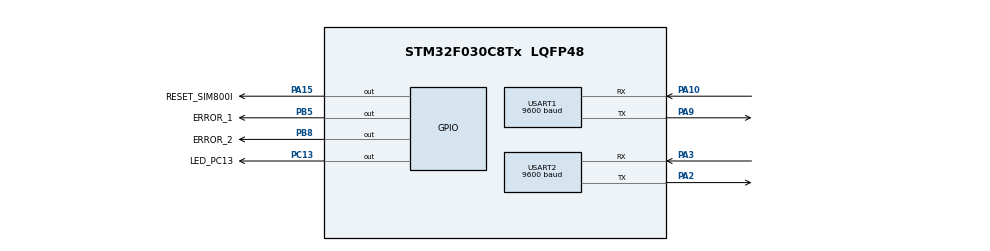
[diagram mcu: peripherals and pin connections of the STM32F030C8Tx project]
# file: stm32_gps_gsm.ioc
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Dma.Request0=USART1_RX
Dma.USART1_RX.0.Direction=DMA_PERIPH_TO_MEMORY
Dma.USART1_RX.0.Instance=DMA1_Channel3
Dma.USART1_RX.0.MemDataAlignment=DMA_MDATAALIGN_BYTE
Dma.USART1_RX.0.MemInc=DMA_MINC_ENABLE
Dma.USART1_RX.0.Mode=DMA_CIRCULAR
Dma.USART1_RX.0.PeriphDataAlignment=DMA_PDATAALIGN_BYTE
Dma.USART1_RX.0.PeriphInc=DMA_PINC_DISABLE
Dma.USART1_RX.0.Priority=DMA_PRIORITY_LOW
Mcu.Family=STM32F0
Mcu.Name=STM32F030C8Tx
Mcu.Package=LQFP48
NVIC.DMA1_Channel2_3_IRQn=true\:0\:0\:false\:false\:true\:false\:true\:true
NVIC.USART1_IRQn=true\:0\:0\:false\:false\:true\:true\:true\:true
NVIC.USART2_IRQn=true\:0\:0\:false\:false\:true\:true\:true\:true
PA10.Mode=Asynchronous
PA10.Signal=USART1_RX
PA15.GPIO_Label=RESET_SIM800l
PA15.Signal=GPIO_Output
PA2.Mode=Asynchronous
PA2.Signal=USART2_TX
PA3.Mode=Asynchronous
PA3.Signal=USART2_RX
PA9.Mode=Asynchronous
PA9.Signal=USART1_TX
PB5.GPIO_Label=ERROR_1
PB5.Signal=GPIO_Output
PB8.GPIO_Label=ERROR_2
PB8.Signal=GPIO_Output
PC13.GPIO_Label=LED_PC13
PC13.PinState=GPIO_PIN_SET
PC13.Signal=GPIO_Output
ProjectManager.HeapSize=0x200
ProjectManager.StackSize=0x400
ProjectManager.TargetToolchain=STM32CubeIDE
USART1.BaudRate=9600
USART1.VirtualMode-Asynchronous=VM_ASYNC
USART2.BaudRate=9600
USART2.VirtualMode-Asynchronous=VM_ASYNC
board=custom

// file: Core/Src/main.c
/* USER CODE BEGIN Header */
/**
  ******************************************************************************
  * @file           : main.c
  * @brief          : Main program body
  ******************************************************************************
  * @attention
  *
  * @author         : HEITOR SOUSA
  * @e-mail         : heitor_hss@hotmail.com
  *
  * Copyright (c) 2022 STMicroelectronics.
  * All rights reserved.
  *
  * This software is licensed under terms that can be found in the LICENSE file
  * in the root directory of this software component.
  * If no LICENSE file comes with this software, it is provided AS-IS.
  *
  ******************************************************************************
  */
/* USER CODE END Header */
#include "main.h"

/* USER CODE BEGIN Includes */
#include <stdint.h> // uint8_t   ...
#include <stdio.h>  // sprintf() ...
#include <string.h> // tratamento de strings ...
/* USER CODE END Includes */

/* USER CODE BEGIN PD */
typedef uint8_t bool;
#define true 1
#define false 0

//TABELA DE COMANDOS AT
#define AT          0
#define AT_CFUN     1
#define AT_CPIN     2
#define AT_CREG     3
#define AT_CSQ      4
#define AT_CSTT     5
#define AT_CIICR    6
#define AT_CIFSR    7
#define AT_CIPSTART 8
#define AT_CIPSEND  9
#define AT_CIPCLOSE 10

/* USER CODE END PD */

UART_HandleTypeDef huart1;
UART_HandleTypeDef huart2;
DMA_HandleTypeDef hdma_usart1_rx;

void SystemClock_Config(void);
static void MX_GPIO_Init(void);
static void MX_USART1_UART_Init(void);
static void MX_DMA_Init(void);
static void MX_USART2_UART_Init(void);

/* USER CODE BEGIN 0 */
unsigned char data_in_uart1[401] = {0};
unsigned char data_in_uart2[61] = {0};

bool ctrl_uart1 = false;
bool ctrl_uart2 = false;

void HAL_UART_RxCpltCallback(UART_HandleTypeDef *huart)
{
	if(huart -> Instance == USART1)
	{
		MX_USART1_UART_Init();
		HAL_UART_Receive_IT(&huart1, data_in_uart1, 400);
		ctrl_uart1 = true;
	}
	if(huart -> Instance == USART2)
	{
		MX_USART2_UART_Init();
		HAL_UART_Receive_IT(&huart2, data_in_uart2, 60);
		ctrl_uart2 = true;
	}
}
/* USER CODE END 0 */

int main(void)
{
  /* USER CODE BEGIN 1 */
	unsigned char data_filter_uart1[100] = {0};
	unsigned char data_filter_uart2[100] = {0};

	//unsigned char error_msg_NS[5] = {0}; // VARIAVEL EM DESUSO
	//error_msg_NS[0] = 0x4E;
	//error_msg_NS[1] = 0x53; //mensagem de erro: "NS" no signal

	//unsigned char error_msg_ID[5] = {0}; // VARIAVEL EM DESUSO
	//error_msg_ID[0] = 0x49;
	//error_msg_ID[1] = 0x44; //mensagem de erro: "ID" invalid data

	unsigned char error_msg_NC[5] = {0};
	error_msg_NC[0] = 0x4E;
	error_msg_NC[1] = 0x43; // mensagem de erro: "NC" no connectivity

	unsigned char send_msg[2] = {0};
	send_msg[0] = 0x1A;  //send msg = ctrl+z

	bool ctrl_creg_loop = false;
	uint8_t cont_loop1 = 0;

	// DEFININDO COMANDOS AT
	unsigned char at_command[11][50] = {{0},{0}};

	at_command[AT][0] = 0x41; //A
	at_command[AT][1] = 0x54; //T
	at_command[AT][2] = 0x0A; //enter

	at_command[AT_CFUN][0] = 0x41; //A
	at_command[AT_CFUN][1] = 0x54; //T
	at_command[AT_CFUN][2] = 0x2B; //+
	at_command[AT_CFUN][3] = 0x43; //C
	at_command[AT_CFUN][4] = 0x46; //F
	at_command[AT_CFUN][5] = 0x55; //U
	at_command[AT_CFUN][6] = 0x4E; //N
	at_command[AT_CFUN][7] = 0x3D; //=
	at_command[AT_CFUN][8] = 0x31; //1
	at_command[AT_CFUN][9] = 0x0A; //enter

	at_command[AT_CPIN][0] = 0x41; //A
	at_command[AT_CPIN][1] = 0x54; //T
	at_command[AT_CPIN][2] = 0x2B; //+
	at_command[AT_CPIN][3] = 0x43; //C
	at_command[AT_CPIN][4] = 0x50; //P
	at_command[AT_CPIN][5] = 0x49; //I
	at_command[AT_CPIN][6] = 0x4E; //N
	at_command[AT_CPIN][7] = 0x3F; //?
	at_command[AT_CPIN][8] = 0x0A; //enter

	at_command[AT_CREG][0] = 0x41; //A
	at_command[AT_CREG][1] = 0x54; //T
	at_command[AT_CREG][2] = 0x2B; //+
	at_command[AT_CREG][3] = 0x43; //C
	at_command[AT_CREG][4] = 0x52; //R
	at_command[AT_CREG][5] = 0x45; //E
	at_command[AT_CREG][6] = 0x47; //G
	at_command[AT_CREG][7] = 0x3F; //?
	at_command[AT_CREG][8] = 0x0A; //enter

	at_command[AT_CSQ][0] = 0x41; //A
	at_command[AT_CSQ][1] = 0x54; //T
	at_command[AT_CSQ][2] = 0x2B; //+
	at_command[AT_CSQ][3] = 0x43; //C
	at_command[AT_CSQ][4] = 0x53; //S
	at_command[AT_CSQ][5] = 0x51; //Q
	at_command[AT_CSQ][6] = 0x0A; //?

	at_command[AT_CSTT][0]  = 0x41; //A
	at_command[AT_CSTT][1]  = 0x54; //T
	at_command[AT_CSTT][2]  = 0x2B; //+
	at_command[AT_CSTT][3]  = 0x43; //C
	at_command[AT_CSTT][4]  = 0x53; //S
	at_command[AT_CSTT][5]  = 0x54; //T
	at_command[AT_CSTT][6]  = 0x54; //T
	at_command[AT_CSTT][7]  = 0x3D; //=
	at_command[AT_CSTT][8]  = 0x22; //"
	at_command[AT_CSTT][9]  = 0x74; //t
	at_command[AT_CSTT][10] = 0x69; //i
	at_command[AT_CSTT][11] = 0x6D; //m
	at_command[AT_CSTT][12] = 0x62; //b
	at_command[AT_CSTT][13] = 0x72; //r
	at_command[AT_CSTT][14] = 0x61; //a
	at_command[AT_CSTT][15] = 0x73; //s
	at_command[AT_CSTT][16] = 0x69; //i
	at_command[AT_CSTT][17] = 0x6C; //l
	at_command[AT_CSTT][18] = 0x2E; //.
	at_command[AT_CSTT][19] = 0x62; //b
	at_command[AT_CSTT][20] = 0x72; //r
	at_command[AT_CSTT][21] = 0x22; //"
	at_command[AT_CSTT][22] = 0x2C; //,
	at_command[AT_CSTT][23] = 0x22; //"
	at_command[AT_CSTT][24] = 0x22; //"
	at_command[AT_CSTT][25] = 0x2C; //,
	at_command[AT_CSTT][26] = 0x22; //"
	at_command[AT_CSTT][27] = 0x22; //"
	at_command[AT_CSTT][28] = 0x0A; //enter

	at_command[AT_CIICR][0] = 0x41; //A
	at_command[AT_CIICR][1] = 0x54; //T
	at_command[AT_CIICR][2] = 0x2B; //+
	at_command[AT_CIICR][3] = 0x43; //C
	at_command[AT_CIICR][4] = 0x49; //I
	at_command[AT_CIICR][5] = 0x49; //I
	at_command[AT_CIICR][6] = 0x43; //C
	at_command[AT_CIICR][7] = 0x52; //R
	at_command[AT_CIICR][8] = 0x0A; //enter

	at_command[AT_CIFSR][0] = 0x41; //A
	at_command[AT_CIFSR][1] = 0x54; //T
	at_command[AT_CIFSR][2] = 0x2B; //+
	at_command[AT_CIFSR][3] = 0x43; //C
	at_command[AT_CIFSR][4] = 0x49; //I
	at_command[AT_CIFSR][5] = 0x46; //F
	at_command[AT_CIFSR][6] = 0x53; //S
	at_command[AT_CIFSR][7] = 0x52; //R
	at_command[AT_CIFSR][8] = 0x0A; //enter

	at_command[AT_CIPSTART][0]  = 0x41; //A
	at_command[AT_CIPSTART][1]  = 0x54; //T
	at_command[AT_CIPSTART][2]  = 0x2B; //+
	at_command[AT_CIPSTART][3]  = 0x43; //C
	at_command[AT_CIPSTART][4]  = 0x49; //I
	at_command[AT_CIPSTART][5]  = 0x50; //P
	at_command[AT_CIPSTART][6]  = 0x53; //S
	at_command[AT_CIPSTART][7]  = 0x54; //T
	at_command[AT_CIPSTART][8]  = 0x41; //A
	at_command[AT_CIPSTART][9]  = 0x52; //R
	at_command[AT_CIPSTART][10] = 0x54; //T
	at_command[AT_CIPSTART][11] = 0x3D; //=
	at_command[AT_CIPSTART][12] = 0x22; //"
	at_command[AT_CIPSTART][13] = 0x54; //T
	at_command[AT_CIPSTART][14] = 0x43; //C
	at_command[AT_CIPSTART][15] = 0x50; //P
	at_command[AT_CIPSTART][16] = 0x22; //"
	at_command[AT_CIPSTART][17] = 0x2C; //,
	at_command[AT_CIPSTART][18] = 0x22; //"
	at_command[AT_CIPSTART][19] = 0x6D; //m
	at_command[AT_CIPSTART][20] = 0x71; //q
	at_command[AT_CIPSTART][21] = 0x74; //t
	at_command[AT_CIPSTART][22] = 0x74; //t
	at_command[AT_CIPSTART][23] = 0x2E; //.
	at_command[AT_CIPSTART][24] = 0x65; //e
	at_command[AT_CIPSTART][25] = 0x63; //c
	at_command[AT_CIPSTART][26] = 0x6C; //l
	at_command[AT_CIPSTART][27] = 0x69; //i
	at_command[AT_CIPSTART][28] = 0x70; //p
	at_command[AT_CIPSTART][29] = 0x73; //s
	at_command[AT_CIPSTART][30] = 0x65; //e
	at_command[AT_CIPSTART][31] = 0x70; //p
	at_command[AT_CIPSTART][32] = 0x72; //r
	at_command[AT_CIPSTART][33] = 0x6F; //o
	at_command[AT_CIPSTART][34] = 0x6A; //j
	at_command[AT_CIPSTART][35] = 0x65; //e
	at_command[AT_CIPSTART][36] = 0x63; //c
	at_command[AT_CIPSTART][37] = 0x74; //t
	at_command[AT_CIPSTART][38] = 0x73; //s
	at_command[AT_CIPSTART][39] = 0x2E; //.
	at_command[AT_CIPSTART][40] = 0x69; //i
	at_command[AT_CIPSTART][41] = 0x6F; //o
	at_command[AT_CIPSTART][42] = 0x22; //"
	at_command[AT_CIPSTART][43] = 0x2C; //,
	at_command[AT_CIPSTART][44] = 0x31; //1
	at_command[AT_CIPSTART][45] = 0x38; //8
	at_command[AT_CIPSTART][46] = 0x38; //8
	at_command[AT_CIPSTART][47] = 0x33; //3
	at_command[AT_CIPSTART][48] = 0x0A; //enter

	at_command[AT_CIPSEND][0]  = 0x41; //A
	at_command[AT_CIPSEND][1]  = 0x54; //T
	at_command[AT_CIPSEND][2]  = 0x2B; //+
	at_command[AT_CIPSEND][3]  = 0x43; //C
	at_command[AT_CIPSEND][4]  = 0x49; //I
	at_command[AT_CIPSEND][5]  = 0x50; //P
	at_command[AT_CIPSEND][6]  = 0x53; //S
	at_command[AT_CIPSEND][7]  = 0x45; //E
	at_command[AT_CIPSEND][8]  = 0x4E; //N
	at_command[AT_CIPSEND][9]  = 0x44; //D
	at_command[AT_CIPSEND][10] = 0x0A; //enter

	at_command[AT_CIPCLOSE][0]   = 0x41; //A
	at_command[AT_CIPCLOSE][1]   = 0x54; //T
	at_command[AT_CIPCLOSE][2]   = 0x2B; //+
	at_command[AT_CIPCLOSE][3]   = 0x43; //C
	at_command[AT_CIPCLOSE][4]   = 0x49; //I
	at_command[AT_CIPCLOSE][5]   = 0x50; //P
	at_command[AT_CIPCLOSE][6]   = 0x43; //C
	at_command[AT_CIPCLOSE][7]   = 0x4C; //L
	at_command[AT_CIPCLOSE][8]   = 0x4F; //O
	at_command[AT_CIPCLOSE][9]   = 0x53; //S
	at_command[AT_CIPCLOSE][10]  = 0x45; //E
	at_command[AT_CIPCLOSE][11]  = 0x0A; //enter

	unsigned char mqtt_packt_msg[100] = {0};

	mqtt_packt_msg[0]  = 0x10; // mqtt connect packet
	mqtt_packt_msg[1]  = 0x13; // remaining length
	mqtt_packt_msg[2]  = 0x00; // protocol length
	mqtt_packt_msg[3]  = 0x04; // protocol length
	mqtt_packt_msg[4]  = 0x4D; // protocol M
	mqtt_packt_msg[5]  = 0x51; // protocol Q
	mqtt_packt_msg[6]  = 0x54; // protocol T
	mqtt_packt_msg[7]  = 0x54; // protocol T
	mqtt_packt_msg[8]  = 0x04; // level
	mqtt_packt_msg[9]  = 0x02; // flag
	mqtt_packt_msg[10] = 0x00; // KA
	mqtt_packt_msg[11] = 0x3C; // KA
	mqtt_packt_msg[12] = 0x00; // CID length
	mqtt_packt_msg[13] = 0x07; // CID length
	mqtt_packt_msg[14] = 0x63; // CID c
	mqtt_packt_msg[15] = 0x67; // CID g
	mqtt_packt_msg[16] = 0x70; // CID p
	mqtt_packt_msg[17] = 0x73; // CID s
	mqtt_packt_msg[18] = 0x30; // CID 0
	mqtt_packt_msg[19] = 0x30; // CID 0
	mqtt_packt_msg[20] = 0x31; // CID 1
	mqtt_packt_msg[21] = 0x30; // mqtt publish packet
	mqtt_packt_msg[22] = 0x38; // remaining length
	mqtt_packt_msg[23] = 0x00; // topic length
	mqtt_packt_msg[24] = 0x0B; // topic length
	mqtt_packt_msg[25] = 0x63; // topic c
	mqtt_packt_msg[26] = 0x6F; // topic o
	mqtt_packt_msg[27] = 0x6C; // topic l
	mqtt_packt_msg[28] = 0x65; // topic e
	mqtt_packt_msg[29] = 0x69; // topic i
	mqtt_packt_msg[30] = 0x72; // topic r
	mqtt_packt_msg[31] = 0x61; // topic a
	mqtt_packt_msg[32] = 0x5F; // topic _
	mqtt_packt_msg[33] = 0x67; // topic g
	mqtt_packt_msg[34] = 0x70; // topic p
	mqtt_packt_msg[35] = 0x73; // topic s

	//NAO TRANSMITIR ERROS POR ENQUANTO
	/*unsigned char mqtt_packt_error[50] = {0};

	mqtt_packt_error[0]  = 0x10; // mqtt connect packet
	mqtt_packt_error[1]  = 0x13; // remaining length
	mqtt_packt_error[2]  = 0x00; // protocol length
	mqtt_packt_error[3]  = 0x04; // protocol length
	mqtt_packt_error[4]  = 0x4D; // protocol M
	mqtt_packt_error[5]  = 0x51; // protocol Q
	mqtt_packt_error[6]  = 0x54; // protocol T
	mqtt_packt_error[7]  = 0x54; // protocol T
	mqtt_packt_error[8]  = 0x04; // level
	mqtt_packt_error[9]  = 0x02; // flag
	mqtt_packt_error[10] = 0x00; // KA
	mqtt_packt_error[11] = 0x3C; // KA
	mqtt_packt_error[12] = 0x00; // CID length
	mqtt_packt_error[13] = 0x07; // CID length
	mqtt_packt_error[14] = 0x63; // CID c
	mqtt_packt_error[15] = 0x67; // CID g
	mqtt_packt_error[16] = 0x70; // CID p
	mqtt_packt_error[17] = 0x73; // CID s
	mqtt_packt_error[18] = 0x30; // CID 0
	mqtt_packt_error[19] = 0x30; // CID 0
	mqtt_packt_error[20] = 0x31; // CID 1
	mqtt_packt_error[21] = 0x30; // mqtt publish packet
	mqtt_packt_error[22] = 0x0F; // remaining length
	mqtt_packt_error[23] = 0x00; // topic length
	mqtt_packt_error[24] = 0x0B; // topic length
	mqtt_packt_error[25] = 0x63; // topic c
	mqtt_packt_error[26] = 0x6F; // topic o
	mqtt_packt_error[27] = 0x6C; // topic l
	mqtt_packt_error[28] = 0x65; // topic e
	mqtt_packt_error[29] = 0x69; // topic i
	mqtt_packt_error[30] = 0x72; // topic r
	mqtt_packt_error[31] = 0x61; // topic a
	mqtt_packt_error[32] = 0x5F; // topic _
	mqtt_packt_error[33] = 0x67; // topic g
	mqtt_packt_error[34] = 0x70; // topic p
	mqtt_packt_error[35] = 0x73; // topic s*/

  /* USER CODE END 1 */

  /* MCU Configuration--------------------------------------------------------*/

  /* Reset of all peripherals, Initializes the Flash interface and the Systick. */
  HAL_Init();

  /* Configure the system clock */
  SystemClock_Config();

  /* Initialize all configured peripherals */
  MX_GPIO_Init();
  MX_USART1_UART_Init();
  MX_DMA_Init();
  MX_USART2_UART_Init();
  /* USER CODE BEGIN 2 */
  HAL_UART_Receive_IT(&huart1, data_in_uart1, 400);
  HAL_UART_Receive_IT(&huart2, data_in_uart2, 60);

  HAL_GPIO_WritePin(RESET_SIM800l_GPIO_Port, RESET_SIM800l_Pin, GPIO_PIN_RESET);
  HAL_Delay(1000);
  HAL_GPIO_WritePin(RESET_SIM800l_GPIO_Port, RESET_SIM800l_Pin, GPIO_PIN_SET);
  HAL_Delay(30000);

  //INICIO VERIFICAÇÃO DE CONECTIVIDADE GPRS
  while (ctrl_creg_loop == false)
  {
	  HAL_UART_Transmit(&huart2, (unsigned char *)at_command[AT_CREG], strlen((const char *)at_command[AT_CREG]), 100);
	  HAL_Delay(500);
	  if (ctrl_uart2 == true)
	  {
		  for (uint8_t a = 0; a<=60; a++)
		  {
			  if ((data_in_uart2[a] == 0x2B) && (data_in_uart2[a+1] == 0x43) && (data_in_uart2[a+2] == 0x52) && (data_in_uart2[a+3] == 0x45)
					  && (data_in_uart2[a+4] == 0x47) && (data_in_uart2[a+5] == 0x3A))//filtrar dados +CREG:
  			  {
				  for(uint8_t b = 0; b<=10; b++)
				  {
					  data_filter_uart2[b] = data_in_uart2[a+b];
				  }
				  break;
  			  }
		  }
	  }
	  if ((data_filter_uart2[9] == 0x31) || (data_filter_uart2[9] == 0x35))
	  {
		  HAL_UART_Transmit(&huart1, (unsigned char *)data_filter_uart2, 10, 100);
		  ctrl_creg_loop = true;
	  }
	  else
	  {
		  HAL_GPIO_WritePin(ERROR_1_GPIO_Port, ERROR_1_Pin, GPIO_PIN_SET); // SIGNIFICA QUE HA PROBLEMA DE CONECTIVIDADE GPRS
		  HAL_GPIO_WritePin(ERROR_2_GPIO_Port, ERROR_2_Pin, GPIO_PIN_SET); // SIGNIFICA QUE HA PROBLEMA DE CONECTIVIDADE GPRS
		  HAL_UART_Transmit(&huart1, (unsigned char *)error_msg_NC, 10, 100);
	  }
  }
  ctrl_creg_loop = false;
  //FIM VERIFICAÇÃO DE CONECTIVIDADE GPRS

  HAL_GPIO_WritePin(ERROR_1_GPIO_Port, ERROR_1_Pin, GPIO_PIN_RESET); // SIGNIFICA QUE HA PROBLEMA DE CONECTIVIDADE GPRS
  HAL_GPIO_WritePin(ERROR_2_GPIO_Port, ERROR_2_Pin, GPIO_PIN_RESET); // SIGNIFICA QUE HA PROBLEMA DE CONECTIVIDADE GPRS

  HAL_UART_Transmit(&huart2, (unsigned char *)at_command[AT], strlen((const char *)at_command[AT]), 100);
  HAL_Delay(500);
  HAL_UART_Transmit(&huart2, (unsigned char *)at_command[AT_CFUN], strlen((const char *)at_command[AT_CFUN]), 100);
  HAL_Delay(500);
  HAL_UART_Transmit(&huart2, (unsigned char *)at_command[AT_CPIN], strlen((const char *)at_command[AT_CPIN]), 100);
  HAL_Delay(500);
  HAL_UART_Transmit(&huart2, (unsigned char *)at_command[AT_CREG], strlen((const char *)at_command[AT_CREG]), 100);
  HAL_Delay(500);
  HAL_UART_Transmit(&huart2, (unsigned char *)at_command[AT_CSQ], strlen((const char *)at_command[AT_CSQ]), 100);
  HAL_Delay(500);
  HAL_UART_Transmit(&huart2, (unsigned char *)at_command[AT_CSTT], strlen((const char *)at_command[AT_CSTT]), 100);
  HAL_Delay(500);
  HAL_UART_Transmit(&huart2, (unsigned char *)at_command[AT_CIICR], strlen((const char *)at_command[AT_CIICR]), 100);
  HAL_Delay(5000);
  HAL_UART_Transmit(&huart2, (unsigned char *)at_command[AT_CIFSR], strlen((const char *)at_command[AT_CIFSR]), 100);
  HAL_Delay(5000);

  /* USER CODE END 2 */

  /* Infinite loop */
  /* USER CODE BEGIN WHILE */
  while (1)
  {
	  if (ctrl_uart1 == true)
	  {
		  for (uint8_t i = 0; i<=400; i++)
		  	{
		  		if ((data_in_uart1[i] == 0x24) && (data_in_uart1[i+1] == 0x47) && (data_in_uart1[i+2] == 0x50) && (data_in_uart1[i+3] == 0x47)
		  				&& (data_in_uart1[i+4] == 0x4C) && (data_in_uart1[i+5] == 0x4C))//filtrar dados GPGLL
		  		{
		  			for(uint8_t j = 0; j<=43; j++)
		  			{
		  				data_filter_uart1[j] = data_in_uart1[i+j];
		  			}
		  			break;
		  		}
		  	}

		  if (data_filter_uart1[7] == 0x2C) //0x2C é o caractere ascii "," , ou seja, não há sinal de GPS
		  {
			  //INICIO VERIFICAÇÃO DE CONECTIVIDADE GPRS
			  while (ctrl_creg_loop == false)
			  {
				  HAL_UART_Transmit(&huart2, (unsigned char *)at_command[AT_CREG], strlen((const char *)at_command[AT_CREG]), 100);
			  	  HAL_Delay(500);
			  	  if (ctrl_uart2 == true)
			  	  {
			  		  for (uint8_t a = 0; a<=60; a++)
			  		  {
			  			  if ((data_in_uart2[a] == 0x2B) && (data_in_uart2[a+1] == 0x43) && (data_in_uart2[a+2] == 0x52) && (data_in_uart2[a+3] == 0x45)
			  					  && (data_in_uart2[a+4] == 0x47) && (data_in_uart2[a+5] == 0x3A))//filtrar dados +CREG:
			  			  {
			  				  for(uint8_t b = 0; b<=10; b++)
			  				  {
			  					  data_filter_uart2[b] = data_in_uart2[a+b];
			  				  }
			  				  break;
			  			  }
			  		  }
			  	  }
			  	  if ((data_filter_uart2[9] == 0x31) || (data_filter_uart2[9] == 0x35)) // se a resposta do CREG é '1' ou '5' (módulo registrado na rede)
			  	  {
			  		  HAL_UART_Transmit(&huart1, (unsigned char *)data_filter_uart2, 10, 100);
			  		  ctrl_creg_loop = true;
			  	  }
			  	  else // se o módulo não estiver registrado na rede
			  	  {
			  		  HAL_GPIO_WritePin(ERROR_1_GPIO_Port, ERROR_1_Pin, GPIO_PIN_SET); // SIGNIFICA QUE HA PROBLEMA DE CONECTIVIDADE GPRS
			  		  HAL_GPIO_WritePin(ERROR_2_GPIO_Port, ERROR_2_Pin, GPIO_PIN_SET); // SIGNIFICA QUE HA PROBLEMA DE CONECTIVIDADE GPRS

			  		  HAL_UART_Transmit(&huart1, (unsigned char *)data_filter_uart2, 10, 100);
			  		  //reset SIM800L
			  		  HAL_GPIO_WritePin(RESET_SIM800l_GPIO_Port, RESET_SIM800l_Pin, GPIO_PIN_RESET);
			  		  HAL_Delay(1000);
			  		  HAL_GPIO_WritePin(RESET_SIM800l_GPIO_Port, RESET_SIM800l_Pin, GPIO_PIN_SET);
			  		  HAL_Delay(30000);

			  		  HAL_UART_Transmit(&huart2, (unsigned char *)at_command[AT], strlen((const char *)at_command[AT]), 100);
			  		  HAL_Delay(500);
			  		  HAL_UART_Transmit(&huart2, (unsigned char *)at_command[AT_CFUN], strlen((const char *)at_command[AT_CFUN]), 100);
			  		  HAL_Delay(500);
			  		  HAL_UART_Transmit(&huart2, (unsigned char *)at_command[AT_CPIN], strlen((const char *)at_command[AT_CPIN]), 100);
			  		  HAL_Delay(500);
			  		  HAL_UART_Transmit(&huart2, (unsigned char *)at_command[AT_CREG], strlen((const char *)at_command[AT_CREG]), 100);
			  		  HAL_Delay(500);
			  		  HAL_UART_Transmit(&huart2, (unsigned char *)at_command[AT_CSQ], strlen((const char *)at_command[AT_CSQ]), 100);
			  		  HAL_Delay(500);
			  		  HAL_UART_Transmit(&huart2, (unsigned char *)at_command[AT_CSTT], strlen((const char *)at_command[AT_CSTT]), 100);
			  		  HAL_Delay(500);
			  		  HAL_UART_Transmit(&huart2, (unsigned char *)at_command[AT_CIICR], strlen((const char *)at_command[AT_CIICR]), 100);
			  		  HAL_Delay(5000);
			  		  HAL_UART_Transmit(&huart2, (unsigned char *)at_command[AT_CIFSR], strlen((const char *)at_command[AT_CIFSR]), 100);
			  		  HAL_Delay(5000);
			  	  }
			  	  HAL_GPIO_TogglePin(LED_PC13_GPIO_Port, LED_PC13_Pin);
			  	  HAL_Delay(500);
			  }
			  ctrl_creg_loop = false;
			  //FIM VERIFICAÇÃO DE CONECTIVIDADE GPRS

			  // NÃO ENVIAR MAIS O SÍMBOLO DE 'NS - NO SIGNAL', EM VEZ DISSO, SINALIZAR O LED ERROR_1 PB5
			  /*HAL_UART_Transmit(&huart2, (unsigned char *)at_command[AT_CIPSTART], strlen((const char *)at_command[AT_CIPSTART]), 100);
			  HAL_Delay(5000);

			  HAL_UART_Transmit(&huart2, (unsigned char *)at_command[AT_CIPSEND], strlen((const char *)at_command[AT_CIPSEND]), 100);
			  HAL_Delay(2000);

			  HAL_UART_Transmit(&huart2, (unsigned char *)mqtt_packt_error, 36, 100);

			  HAL_UART_Transmit(&huart2, (unsigned char *)error_msg_NS, strlen((const char *)error_msg_NS), 100);
			  HAL_UART_Transmit(&huart2, (unsigned char *)send_msg, strlen((const char *)send_msg), 100);
			  HAL_Delay(5000);

			  HAL_UART_Transmit(&huart2, (unsigned char *)at_command[AT_CIPCLOSE], strlen((const char *)at_command[AT_CIPCLOSE]), 100);*/
			  HAL_GPIO_WritePin(ERROR_1_GPIO_Port, ERROR_1_Pin, GPIO_PIN_SET);   // SIGNIFICA QUE O SIMBOLO DE NS DEVERIA TER SIDO ENVIADO
			  HAL_GPIO_WritePin(ERROR_2_GPIO_Port, ERROR_2_Pin, GPIO_PIN_RESET); // SIGNIFICA QUE O SIMBOLO DE NS DEVERIA TER SIDO ENVIADO
			  HAL_Delay(5000);
		  }
		  else
		  {
			  if ((data_filter_uart1[31] == 0x2C) && ((data_filter_uart1[32] == 0x45) || (data_filter_uart1[32] == 0x57)) && ((data_filter_uart1[33] == 0x2C)))
				{
				  if ((data_filter_uart1[6] == 0x2C) && (data_filter_uart1[17] == 0x2C) && ((data_filter_uart1[18] == 0x4E) || (data_filter_uart1[18] == 0x53))
				  		  					&& (data_filter_uart1[19] == 0x2C))// gambiarra - SE O DADO DE GPS CAPTURADO FOR VÁLIDO, ELE É TRANSMITIDO
				  {
					  //INICIO VERIFICAÇÃO DE CONECTIVIDADE GPRS
					  while (ctrl_creg_loop == false)
					  {
						  HAL_UART_Transmit(&huart2, (unsigned char *)at_command[AT_CREG], strlen((const char *)at_command[AT_CREG]), 100);
						  HAL_Delay(500);
						  if (ctrl_uart2 == true)
						  {
							  for (uint8_t a = 0; a<=60; a++)
							  {
								  if ((data_in_uart2[a] == 0x2B) && (data_in_uart2[a+1] == 0x43) && (data_in_uart2[a+2] == 0x52) && (data_in_uart2[a+3] == 0x45)
										  && (data_in_uart2[a+4] == 0x47) && (data_in_uart2[a+5] == 0x3A))//filtrar dados +CREG:
					  			  {
									  for(uint8_t b = 0; b<=10; b++)
									  {
										  data_filter_uart2[b] = data_in_uart2[a+b];
									  }
									  break;
					  			  }
							  }
						  }
						  if ((data_filter_uart2[9] == 0x31) || (data_filter_uart2[9] == 0x35))
						  {
							  HAL_UART_Transmit(&huart1, (unsigned char *)data_filter_uart2, 10, 100);
							  ctrl_creg_loop = true;
						  }
						  else
						  {
							  HAL_GPIO_WritePin(ERROR_1_GPIO_Port, ERROR_1_Pin, GPIO_PIN_SET); // SIGNIFICA QUE HA PROBLEMA DE CONECTIVIDADE GPRS
							  HAL_GPIO_WritePin(ERROR_2_GPIO_Port, ERROR_2_Pin, GPIO_PIN_SET); // SIGNIFICA QUE HA PROBLEMA DE CONECTIVIDADE GPRS

							  HAL_UART_Transmit(&huart1, (unsigned char *)data_filter_uart2, 10, 100);
							  //reset SIM800L
							  HAL_GPIO_WritePin(RESET_SIM800l_GPIO_Port, RESET_SIM800l_Pin, GPIO_PIN_RESET);
							  HAL_Delay(1000);
							  HAL_GPIO_WritePin(RESET_SIM800l_GPIO_Port, RESET_SIM800l_Pin, GPIO_PIN_SET);
							  HAL_Delay(30000);

							  HAL_UART_Transmit(&huart2, (unsigned char *)at_command[AT], strlen((const char *)at_command[AT]), 100);
							  HAL_Delay(500);
							  HAL_UART_Transmit(&huart2, (unsigned char *)at_command[AT_CFUN], strlen((const char *)at_command[AT_CFUN]), 100);
							  HAL_Delay(500);
							  HAL_UART_Transmit(&huart2, (unsigned char *)at_command[AT_CPIN], strlen((const char *)at_command[AT_CPIN]), 100);
							  HAL_Delay(500);
							  HAL_UART_Transmit(&huart2, (unsigned char *)at_command[AT_CREG], strlen((const char *)at_command[AT_CREG]), 100);
							  HAL_Delay(500);
							  HAL_UART_Transmit(&huart2, (unsigned char *)at_command[AT_CSQ], strlen((const char *)at_command[AT_CSQ]), 100);
							  HAL_Delay(500);
							  HAL_UART_Transmit(&huart2, (unsigned char *)at_command[AT_CSTT], strlen((const char *)at_command[AT_CSTT]), 100);
							  HAL_Delay(500);
							  HAL_UART_Transmit(&huart2, (unsigned char *)at_command[AT_CIICR], strlen((const char *)at_command[AT_CIICR]), 100);
							  HAL_Delay(5000);
							  HAL_UART_Transmit(&huart2, (unsigned char *)at_command[AT_CIFSR], strlen((const char *)at_command[AT_CIFSR]), 100);
							  HAL_Delay(5000);
						  }
						  HAL_GPIO_TogglePin(LED_PC13_GPIO_Port, LED_PC13_Pin);
						  HAL_Delay(500);
					  }
					  ctrl_creg_loop = false;
					  //FIM VERIFICAÇÃO DE CONECTIVIDADE GPRS

					  HAL_UART_Transmit(&huart2, (unsigned char *)at_command[AT_CIPSTART], strlen((const char *)at_command[AT_CIPSTART]), 100);
					  HAL_Delay(5000);

					  HAL_UART_Transmit(&huart2, (unsigned char *)at_command[AT_CIPSEND], strlen((const char *)at_command[AT_CIPSEND]), 100);
					  HAL_Delay(2000);

					  HAL_UART_Transmit(&huart2, (unsigned char *)mqtt_packt_msg, 36, 100);
					  HAL_UART_Transmit(&huart2, (unsigned char *)data_filter_uart1, 43, 100);
					  HAL_UART_Transmit(&huart2, (unsigned char *)send_msg, strlen((const char *)send_msg), 100);
					  HAL_Delay(5000);

					  HAL_UART_Transmit(&huart2, (unsigned char *)at_command[AT_CIPCLOSE], strlen((const char *)at_command[AT_CIPCLOSE]), 100);
					  HAL_GPIO_WritePin(ERROR_1_GPIO_Port, ERROR_1_Pin, GPIO_PIN_RESET); // SIGNIFICA QUE NAO HA ERRO DE NS - NO SIGNAL
					  HAL_GPIO_WritePin(ERROR_2_GPIO_Port, ERROR_2_Pin, GPIO_PIN_RESET); // SIGNIFICA QUE NAO HA ERRO DE ID - INVALID DATA
					  HAL_Delay(5000);
				  }
				}
			  else
			  {
				  //INICIO VERIFICAÇÃO DE CONECTIVIDADE GPRS
				  while (ctrl_creg_loop == false)
				  {
					  HAL_UART_Transmit(&huart2, (unsigned char *)at_command[AT_CREG], strlen((const char *)at_command[AT_CREG]), 100);
					  HAL_Delay(500);
					  if (ctrl_uart2 == true)
					  {
						  for (uint8_t a = 0; a<=60; a++)
						  {
							  if ((data_in_uart2[a] == 0x2B) && (data_in_uart2[a+1] == 0x43) && (data_in_uart2[a+2] == 0x52) && (data_in_uart2[a+3] == 0x45)
									  && (data_in_uart2[a+4] == 0x47) && (data_in_uart2[a+5] == 0x3A))//filtrar dados +CREG:
				  			  {
								  for(uint8_t b = 0; b<=10; b++)
								  {
									  data_filter_uart2[b] = data_in_uart2[a+b];
								  }
								  break;
				  			  }
						  }
					  }
					  if ((data_filter_uart2[9] == 0x31) || (data_filter_uart2[9] == 0x35))
					  {
						  HAL_UART_Transmit(&huart1, (unsigned char *)data_filter_uart2, 10, 100);
						  ctrl_creg_loop = true;
					  }
					  else
					  {
						  HAL_GPIO_WritePin(ERROR_1_GPIO_Port, ERROR_1_Pin, GPIO_PIN_SET); // SIGNIFICA QUE HA PROBLEMA DE CONECTIVIDADE GPRS
						  HAL_GPIO_WritePin(ERROR_2_GPIO_Port, ERROR_2_Pin, GPIO_PIN_SET); // SIGNIFICA QUE HA PROBLEMA DE CONECTIVIDADE GPRS

						  HAL_UART_Transmit(&huart1, (unsigned char *)data_filter_uart2, 10, 100);
						  //reset SIM800L
						  HAL_GPIO_WritePin(RESET_SIM800l_GPIO_Port, RESET_SIM800l_Pin, GPIO_PIN_RESET);
						  HAL_Delay(1000);
						  HAL_GPIO_WritePin(RESET_SIM800l_GPIO_Port, RESET_SIM800l_Pin, GPIO_PIN_SET);
						  HAL_Delay(30000);

						  HAL_UART_Transmit(&huart2, (unsigned char *)at_command[AT], strlen((const char *)at_command[AT]), 100);
						  HAL_Delay(500);
						  HAL_UART_Transmit(&huart2, (unsigned char *)at_command[AT_CFUN], strlen((const char *)at_command[AT_CFUN]), 100);
						  HAL_Delay(500);
						  HAL_UART_Transmit(&huart2, (unsigned char *)at_command[AT_CPIN], strlen((const char *)at_command[AT_CPIN]), 100);
						  HAL_Delay(500);
						  HAL_UART_Transmit(&huart2, (unsigned char *)at_command[AT_CREG], strlen((const char *)at_command[AT_CREG]), 100);
						  HAL_Delay(500);
						  HAL_UART_Transmit(&huart2, (unsigned char *)at_command[AT_CSQ], strlen((const char *)at_command[AT_CSQ]), 100);
						  HAL_Delay(500);
						  HAL_UART_Transmit(&huart2, (unsigned char *)at_command[AT_CSTT], strlen((const char *)at_command[AT_CSTT]), 100);
						  HAL_Delay(500);
						  HAL_UART_Transmit(&huart2, (unsigned char *)at_command[AT_CIICR], strlen((const char *)at_command[AT_CIICR]), 100);
						  HAL_Delay(5000);
						  HAL_UART_Transmit(&huart2, (unsigned char *)at_command[AT_CIFSR], strlen((const char *)at_command[AT_CIFSR]), 100);
						  HAL_Delay(5000);
					  }
	  			  	  HAL_GPIO_TogglePin(LED_PC13_GPIO_Port, LED_PC13_Pin);
	  			  	  HAL_Delay(500);
				  }
				  ctrl_creg_loop = false;
				  //FIM VERIFICAÇÃO DE CONECTIVIDADE GPRS

				  // NÃO ENVIAR MAIS O SÍMBOLO DE 'NS - NO SIGNAL', EM VEZ DISSO, SINALIZAR O LED ERROR_1 PB5
				  /*HAL_UART_Transmit(&huart2, (unsigned char *)at_command[AT_CIPSTART], strlen((const char *)at_command[AT_CIPSTART]), 100);
				  HAL_Delay(5000);

				  HAL_UART_Transmit(&huart2, (unsigned char *)at_command[AT_CIPSEND], strlen((const char *)at_command[AT_CIPSEND]), 100);
				  HAL_Delay(2000);
	  			  HAL_UART_Transmit(&huart2, (unsigned char *)mqtt_packt_error, 36, 100);

				  HAL_UART_Transmit(&huart2, (unsigned char *)error_msg_ID, strlen((const char *)error_msg_ID), 100);
				  HAL_UART_Transmit(&huart2, (unsigned char *)send_msg, strlen((const char *)send_msg), 100);
				  HAL_Delay(5000);

				  HAL_UART_Transmit(&huart2, (unsigned char *)at_command[AT_CIPCLOSE], strlen((const char *)at_command[AT_CIPCLOSE]), 100);*/
				  HAL_GPIO_WritePin(ERROR_1_GPIO_Port, ERROR_1_Pin, GPIO_PIN_RESET); // SIGNIFICA QUE O SIMBOLO DE ID DEVERIA TER SIDO ENVIADO
				  HAL_GPIO_WritePin(ERROR_2_GPIO_Port, ERROR_2_Pin, GPIO_PIN_SET); // SIGNIFICA QUE O SIMBOLO DE ID DEVERIA TER SIDO ENVIADO
				  HAL_Delay(5000);
			  }
		  }
		  ctrl_uart1 = false;

		  //RESETAR O SIM800L A CADA 15 CICLOS PARA EVITAR QUE FIQUE PRESO EM ERROS
		  cont_loop1++;
		  if (cont_loop1 == 15)
		  {
			  for(uint8_t i = 0; i<100; i++)
			  {
				  HAL_GPIO_TogglePin(ERROR_1_GPIO_Port, ERROR_1_Pin);
				  HAL_GPIO_TogglePin(ERROR_2_GPIO_Port, ERROR_2_Pin);
				  HAL_Delay(100);
			  }
			  HAL_GPIO_WritePin(ERROR_1_GPIO_Port, ERROR_1_Pin, GPIO_PIN_RESET);
			  HAL_GPIO_WritePin(ERROR_2_GPIO_Port, ERROR_2_Pin, GPIO_PIN_RESET);

			  HAL_GPIO_WritePin(ERROR_1_GPIO_Port, ERROR_1_Pin, GPIO_PIN_RESET); // SIGNIFICA QUE O SIMBOLO DE ID DEVERIA TER SIDO ENVIADO
			  	HAL_GPIO_WritePin(ERROR_2_GPIO_Port, ERROR_2_Pin, GPIO_PIN_SET); // SIGNIFICA QUE O SIMBOLO DE ID DEVERIA TER SIDO ENVIADO

			  	HAL_GPIO_WritePin(RESET_SIM800l_GPIO_Port, RESET_SIM800l_Pin, GPIO_PIN_RESET);
			    HAL_Delay(1000);
			    HAL_GPIO_WritePin(RESET_SIM800l_GPIO_Port, RESET_SIM800l_Pin, GPIO_PIN_SET);
			    HAL_Delay(30000);

			    //INICIO VERIFICAÇÃO DE CONECTIVIDADE GPRS
			    while (ctrl_creg_loop == false)
			    {
			  	  HAL_UART_Transmit(&huart2, (unsigned char *)at_command[AT_CREG], strlen((const char *)at_command[AT_CREG]), 100);
			  	  HAL_Delay(500);
			  	  if (ctrl_uart2 == true)
			  	  {
			  		  for (uint8_t a = 0; a<=60; a++)
			  		  {
			  			  if ((data_in_uart2[a] == 0x2B) && (data_in_uart2[a+1] == 0x43) && (data_in_uart2[a+2] == 0x52) && (data_in_uart2[a+3] == 0x45)
			  					  && (data_in_uart2[a+4] == 0x47) && (data_in_uart2[a+5] == 0x3A))//filtrar dados +CREG:
			    			  {
			  				  for(uint8_t b = 0; b<=10; b++)
			  				  {
			  					  data_filter_uart2[b] = data_in_uart2[a+b];
			  				  }
			  				  break;
			    			  }
			  		  }
			  	  }
			  	  if ((data_filter_uart2[9] == 0x31) || (data_filter_uart2[9] == 0x35))
			  	  {
			  		  HAL_UART_Transmit(&huart1, (unsigned char *)data_filter_uart2, 10, 100);
			  		  ctrl_creg_loop = true;
			  	  }
			  	  else
			  	  {
			  		  HAL_GPIO_WritePin(ERROR_1_GPIO_Port, ERROR_1_Pin, GPIO_PIN_SET); // SIGNIFICA QUE HA PROBLEMA DE CONECTIVIDADE GPRS
			  		  HAL_GPIO_WritePin(ERROR_2_GPIO_Port, ERROR_2_Pin, GPIO_PIN_SET); // SIGNIFICA QUE HA PROBLEMA DE CONECTIVIDADE GPRS
			  		  HAL_UART_Transmit(&huart1, (unsigned char *)error_msg_NC, 10, 100);
			  	  }
			    }
			    ctrl_creg_loop = false;
			    //FIM VERIFICAÇÃO DE CONECTIVIDADE GPRS

			    HAL_UART_Transmit(&huart2, (unsigned char *)at_command[AT], strlen((const char *)at_command[AT]), 100);
			    HAL_Delay(500);
			    HAL_UART_Transmit(&huart2, (unsigned char *)at_command[AT_CFUN], strlen((const char *)at_command[AT_CFUN]), 100);
			    HAL_Delay(500);
			    HAL_UART_Transmit(&huart2, (unsigned char *)at_command[AT_CPIN], strlen((const char *)at_command[AT_CPIN]), 100);
			    HAL_Delay(500);
			    HAL_UART_Transmit(&huart2, (unsigned char *)at_command[AT_CREG], strlen((const char *)at_command[AT_CREG]), 100);
			    HAL_Delay(500);
			    HAL_UART_Transmit(&huart2, (unsigned char *)at_command[AT_CSQ], strlen((const char *)at_command[AT_CSQ]), 100);
			    HAL_Delay(500);
			    HAL_UART_Transmit(&huart2, (unsigned char *)at_command[AT_CSTT], strlen((const char *)at_command[AT_CSTT]), 100);
			    HAL_Delay(500);
			    HAL_UART_Transmit(&huart2, (unsigned char *)at_command[AT_CIICR], strlen((const char *)at_command[AT_CIICR]), 100);
			    HAL_Delay(5000);
			    HAL_UART_Transmit(&huart2, (unsigned char *)at_command[AT_CIFSR], strlen((const char *)at_command[AT_CIFSR]), 100);
			    HAL_Delay(5000);

			  cont_loop1 = 0;
		  }
	  }
    /* USER CODE END WHILE */

  }
}

void SystemClock_Config(void)
{
  RCC_OscInitTypeDef RCC_OscInitStruct = {0};
  RCC_ClkInitTypeDef RCC_ClkInitStruct = {0};
  RCC_PeriphCLKInitTypeDef PeriphClkInit = {0};

  /** Initializes the RCC Oscillators according to the specified parameters
  * in the RCC_OscInitTypeDef structure.
  */
  RCC_OscInitStruct.OscillatorType = RCC_OSCILLATORTYPE_HSI;
  RCC_OscInitStruct.HSIState = RCC_HSI_ON;
  RCC_OscInitStruct.HSICalibrationValue = RCC_HSICALIBRATION_DEFAULT;
  RCC_OscInitStruct.PLL.PLLState = RCC_PLL_NONE;
  if (HAL_RCC_OscConfig(&RCC_OscInitStruct) != HAL_OK)
  {
    Error_Handler();
  }
  /** Initializes the CPU, AHB and APB buses clocks
  */
  RCC_ClkInitStruct.ClockType = RCC_CLOCKTYPE_HCLK|RCC_CLOCKTYPE_SYSCLK
                              |RCC_CLOCKTYPE_PCLK1;
  RCC_ClkInitStruct.SYSCLKSource = RCC_SYSCLKSOURCE_HSI;
  RCC_ClkInitStruct.AHBCLKDivider = RCC_SYSCLK_DIV1;
  RCC_ClkInitStruct.APB1CLKDivider = RCC_HCLK_DIV1;

  if (HAL_RCC_ClockConfig(&RCC_ClkInitStruct, FLASH_LATENCY_0) != HAL_OK)
  {
    Error_Handler();
  }
  PeriphClkInit.PeriphClockSelection = RCC_PERIPHCLK_USART1;
  PeriphClkInit.Usart1ClockSelection = RCC_USART1CLKSOURCE_PCLK1;
  if (HAL_RCCEx_PeriphCLKConfig(&PeriphClkInit) != HAL_OK)
  {
    Error_Handler();
  }
}

static void MX_USART1_UART_Init(void)
{

  huart1.Instance = USART1;
  huart1.Init.BaudRate = 9600;
  huart1.Init.WordLength = UART_WORDLENGTH_8B;
  huart1.Init.StopBits = UART_STOPBITS_1;
  huart1.Init.Parity = UART_PARITY_NONE;
  huart1.Init.Mode = UART_MODE_TX_RX;
  huart1.Init.HwFlowCtl = UART_HWCONTROL_NONE;
  huart1.Init.OverSampling = UART_OVERSAMPLING_16;
  huart1.Init.OneBitSampling = UART_ONE_BIT_SAMPLE_DISABLE;
  huart1.AdvancedInit.AdvFeatureInit = UART_ADVFEATURE_NO_INIT;
  if (HAL_UART_Init(&huart1) != HAL_OK)
  {
    Error_Handler();
  }

}

static void MX_USART2_UART_Init(void)
{

  huart2.Instance = USART2;
  huart2.Init.BaudRate = 9600;
  huart2.Init.WordLength = UART_WORDLENGTH_8B;
  huart2.Init.StopBits = UART_STOPBITS_1;
  huart2.Init.Parity = UART_PARITY_NONE;
  huart2.Init.Mode = UART_MODE_TX_RX;
  huart2.Init.HwFlowCtl = UART_HWCONTROL_NONE;
  huart2.Init.OverSampling = UART_OVERSAMPLING_16;
  huart2.Init.OneBitSampling = UART_ONE_BIT_SAMPLE_DISABLE;
  huart2.AdvancedInit.AdvFeatureInit = UART_ADVFEATURE_NO_INIT;
  if (HAL_UART_Init(&huart2) != HAL_OK)
  {
    Error_Handler();
  }

}

static void MX_DMA_Init(void)
{

  /* DMA controller clock enable */
  __HAL_RCC_DMA1_CLK_ENABLE();

  /* DMA interrupt init */
  /* DMA1_Channel2_3_IRQn interrupt configuration */
  HAL_NVIC_SetPriority(DMA1_Channel2_3_IRQn, 0, 0);
  HAL_NVIC_EnableIRQ(DMA1_Channel2_3_IRQn);

}

static void MX_GPIO_Init(void)
{
  GPIO_InitTypeDef GPIO_InitStruct = {0};

  /* GPIO Ports Clock Enable */
  __HAL_RCC_GPIOC_CLK_ENABLE();
  __HAL_RCC_GPIOA_CLK_ENABLE();
  __HAL_RCC_GPIOB_CLK_ENABLE();

  /*Configure GPIO pin Output Level */
  HAL_GPIO_WritePin(LED_PC13_GPIO_Port, LED_PC13_Pin, GPIO_PIN_SET);

  /*Configure GPIO pin Output Level */
  HAL_GPIO_WritePin(RESET_SIM800l_GPIO_Port, RESET_SIM800l_Pin, GPIO_PIN_RESET);

  /*Configure GPIO pin Output Level */
  HAL_GPIO_WritePin(GPIOB, ERROR_1_Pin|ERROR_2_Pin, GPIO_PIN_RESET);

  /*Configure GPIO pin : LED_PC13_Pin */
  GPIO_InitStruct.Pin = LED_PC13_Pin;
  GPIO_InitStruct.Mode = GPIO_MODE_OUTPUT_PP;
  GPIO_InitStruct.Pull = GPIO_NOPULL;
  GPIO_InitStruct.Speed = GPIO_SPEED_FREQ_LOW;
  HAL_GPIO_Init(LED_PC13_GPIO_Port, &GPIO_InitStruct);

  /*Configure GPIO pin : RESET_SIM800l_Pin */
  GPIO_InitStruct.Pin = RESET_SIM800l_Pin;
  GPIO_InitStruct.Mode = GPIO_MODE_OUTPUT_PP;
  GPIO_InitStruct.Pull = GPIO_NOPULL;
  GPIO_InitStruct.Speed = GPIO_SPEED_FREQ_LOW;
  HAL_GPIO_Init(RESET_SIM800l_GPIO_Port, &GPIO_InitStruct);

  /*Configure GPIO pins : ERROR_1_Pin ERROR_2_Pin */
  GPIO_InitStruct.Pin = ERROR_1_Pin|ERROR_2_Pin;
  GPIO_InitStruct.Mode = GPIO_MODE_OUTPUT_PP;
  GPIO_InitStruct.Pull = GPIO_NOPULL;
  GPIO_InitStruct.Speed = GPIO_SPEED_FREQ_LOW;
  HAL_GPIO_Init(GPIOB, &GPIO_InitStruct);

}

void Error_Handler(void)
{
  __disable_irq();
  while (1)
  {
  }
}
